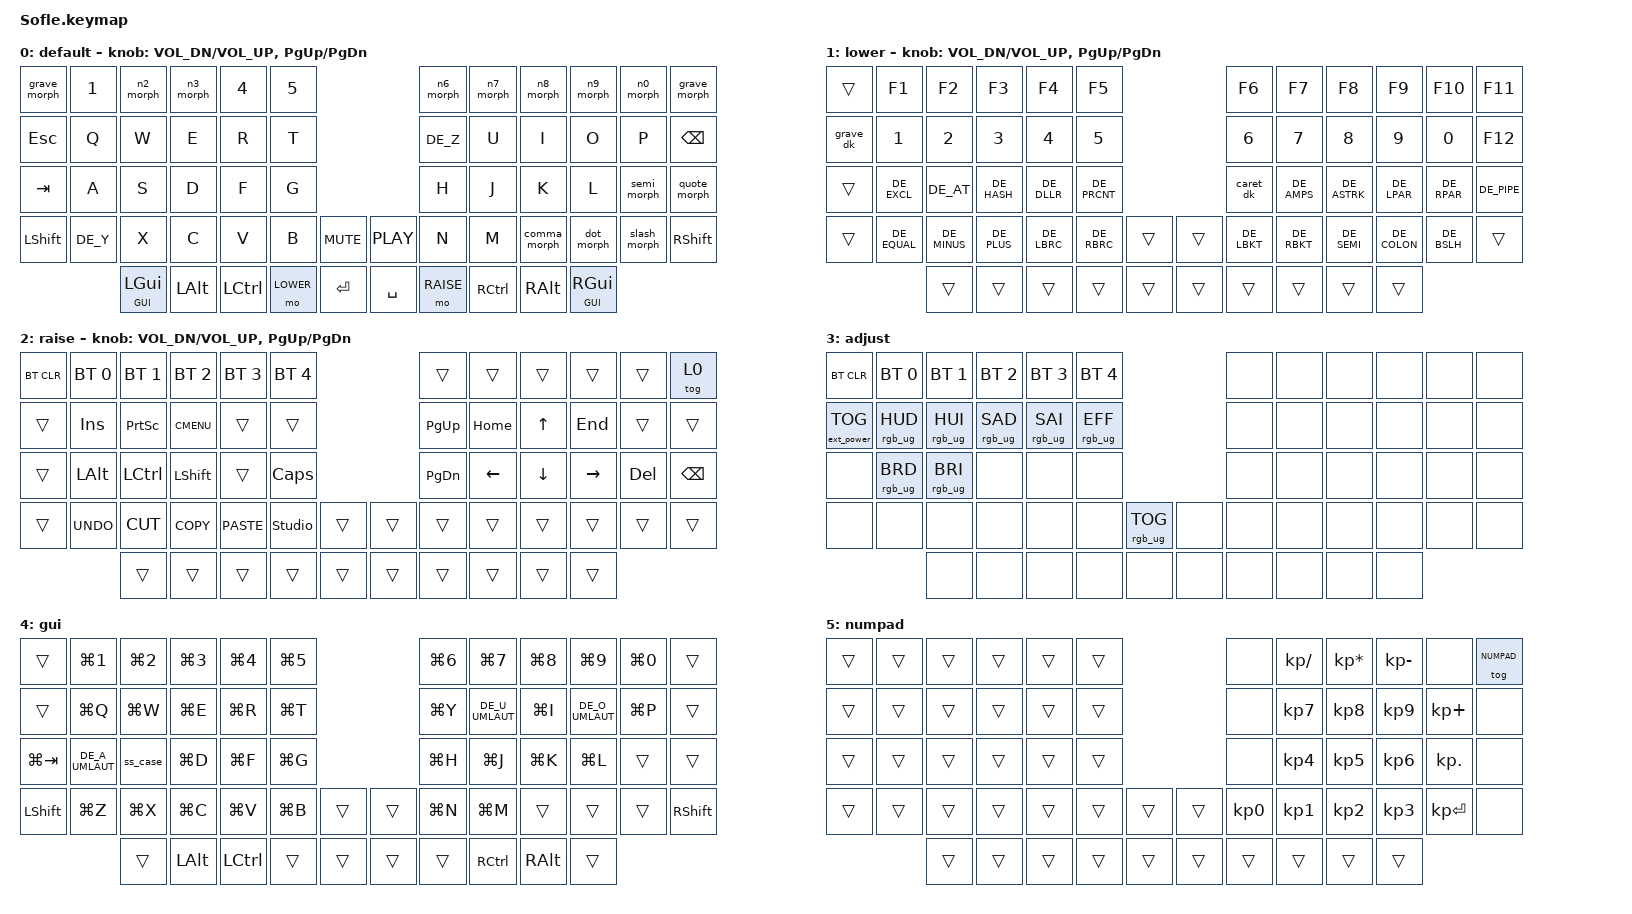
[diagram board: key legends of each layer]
/*
* Copyright (c) 2020 The ZMK Contributors
*
* SPDX-License-Identifier: MIT
*/
/*
 * German-OS / US-feel keymap for the Keebart Sofle Wireless.
 *
 * Your OS keyboard layout must be set to GERMAN. This firmware sends the
 * scancodes that a German OS turns back into the US-style characters printed
 * on your keycaps (y/z in the right spots, @ # { } [ ] etc.). The DE_*
 * keycodes come from the vendored keys_de.h header.
 *
 * Umlauts: HOLD a GUI (Win) thumb key, then a/o/u/s -> ä/ö/ü/ß (Shift -> capitals).
 *   While the GUI key is held the board is on the GUI layer, where every other
 *   key is its real Win+key shortcut (Win+L, Win+E, Win+D, Win+1..0, ...).
 *   A quick TAP of a GUI key alone = Start menu. Because the umlauts live on a
 *   layer, Windows never sees a lone Win press, so the Start menu no longer pops
 *   up while typing umlauts. (Trade-off: Win+A / Win+S / Win+Shift+S are gone.)
 *
 * Numpad: toggle layer. Raise + top-right key turns it ON (stays on); the same
 *   top-right key turns it OFF. While on, the right hand is a numpad; the left
 *   hand still types letters.
 *
 * Raise: Home/End next to the arrows. Adjust (hold Lower+Raise): BT/RGB.
 */

#include <behaviors.dtsi>
#include <dt-bindings/zmk/bt.h>
#include <dt-bindings/zmk/ext_power.h>
#include <dt-bindings/zmk/keys.h>
#include <dt-bindings/zmk/rgb.h>
#include "keys_de_swiss.h"

/*
*#include "keys_de.h"
 */

#define BASE 0
#define LOWER 1
#define RAISE 2
#define ADJUST 3
#define GUI 4
#define NUMPAD 5

/ {
    macros {
        // German dead-grave (Shift+=) then Space to commit a standalone `.
        // Generous delays mimic slow human typing so the OS reliably registers the
        // dead-key state before Space (needed for terminals to compose it).

        grave_dk: grave_dk {
            compatible = "zmk,behavior-macro";
            #binding-cells = <0>;
            bindings =
                <&macro_tap_time 40>,
                <&macro_wait_time 100>,
                <&macro_tap>,
                <&kp DE_GRAVE &kp SPACE>;
        };

        // German tilde (AltGr++) is NOT a dead key — it types ~ directly, so no Space.

        tilde_dk: tilde_dk {
            compatible = "zmk,behavior-macro";
            #binding-cells = <0>;
            bindings = <&macro_tap>, <&kp DE_TILDE>;
        };

        // German dead-circumflex (^ key) then Space to commit a standalone ^.

        caret_dk: caret_dk {
            compatible = "zmk,behavior-macro";
            #binding-cells = <0>;
            bindings =
                <&macro_tap_time 40>,
                <&macro_wait_time 100>,
                <&macro_tap>,
                <&kp DE_CARET &kp SPACE>;
        };
    };

    behaviors {
        // GUI thumb: tap alone = Win (Start menu); hold = GUI layer (umlauts +
        // real Win+key shortcuts). hold-preferred: pressing any key while held
        // immediately switches to the GUI layer.

        gui_lt: gui_lt {
            compatible = "zmk,behavior-hold-tap";
            #binding-cells = <2>;
            bindings = <&mo>, <&kp>;

            flavor = "hold-preferred";
            tapping-term-ms = <200>;
        };

        // ß on the GUI layer: s -> ß ; Shift+s -> ẞ (capital eszett).

        ss_case: ss_case {
            compatible = "zmk,behavior-mod-morph";
            #binding-cells = <0>;
            bindings = <&kp DE_SZ>, <&kp DE_CAPITAL_SZ>;

            mods = <(MOD_LSFT|MOD_RSFT)>;
        };

        // --- Number row: digit unshifted, US symbol shifted ---

        n2_morph: n2_morph {
            compatible = "zmk,behavior-mod-morph";
            #binding-cells = <0>;
            bindings = <&kp N2>, <&kp DE_AT>;

            mods = <(MOD_LSFT|MOD_RSFT)>;
        };

        n3_morph: n3_morph {
            compatible = "zmk,behavior-mod-morph";
            #binding-cells = <0>;
            bindings = <&kp N3>, <&kp DE_HASH>;

            mods = <(MOD_LSFT|MOD_RSFT)>;
        };

        n6_morph: n6_morph {
            compatible = "zmk,behavior-mod-morph";
            #binding-cells = <0>;
            bindings = <&kp N6>, <&caret_dk>;

            mods = <(MOD_LSFT|MOD_RSFT)>;
        };

        n7_morph: n7_morph {
            compatible = "zmk,behavior-mod-morph";
            #binding-cells = <0>;
            bindings = <&kp N7>, <&kp DE_AMPS>;

            mods = <(MOD_LSFT|MOD_RSFT)>;
        };

        n8_morph: n8_morph {
            compatible = "zmk,behavior-mod-morph";
            #binding-cells = <0>;
            bindings = <&kp N8>, <&kp DE_ASTRK>;

            mods = <(MOD_LSFT|MOD_RSFT)>;
        };

        n9_morph: n9_morph {
            compatible = "zmk,behavior-mod-morph";
            #binding-cells = <0>;
            bindings = <&kp N9>, <&kp DE_LPAR>;

            mods = <(MOD_LSFT|MOD_RSFT)>;
        };

        n0_morph: n0_morph {
            compatible = "zmk,behavior-mod-morph";
            #binding-cells = <0>;
            bindings = <&kp N0>, <&kp DE_RPAR>;

            mods = <(MOD_LSFT|MOD_RSFT)>;
        };

        // --- Right-side punctuation: US unshifted/shifted pairs ---

        semi_morph: semi_morph {
            compatible = "zmk,behavior-mod-morph";
            #binding-cells = <0>;
            bindings = <&kp DE_SEMI>, <&kp DE_COLON>;

            // ; / :

            mods = <(MOD_LSFT|MOD_RSFT)>;
        };

        quote_morph: quote_morph {
            compatible = "zmk,behavior-mod-morph";
            #binding-cells = <0>;
            bindings = <&kp DE_SQT>, <&kp DE_DQT>;

            // ' / "

            mods = <(MOD_LSFT|MOD_RSFT)>;
        };

        comma_morph: comma_morph {
            compatible = "zmk,behavior-mod-morph";
            #binding-cells = <0>;
            bindings = <&kp DE_COMMA>, <&kp DE_LT>;

            // , / <

            mods = <(MOD_LSFT|MOD_RSFT)>;
        };

        dot_morph: dot_morph {
            compatible = "zmk,behavior-mod-morph";
            #binding-cells = <0>;
            bindings = <&kp DE_DOT>, <&kp DE_GT>;

            // . / >

            mods = <(MOD_LSFT|MOD_RSFT)>;
        };

        slash_morph: slash_morph {
            compatible = "zmk,behavior-mod-morph";
            #binding-cells = <0>;
            bindings = <&kp DE_SLASH>, <&kp DE_QUESTION>;

            // / / ?

            mods = <(MOD_LSFT|MOD_RSFT)>;
        };

        // ` unshifted (dead-grave macro) / ~ shifted (dead-tilde macro)

        grave_morph: grave_morph {
            compatible = "zmk,behavior-mod-morph";
            #binding-cells = <0>;
            bindings = <&grave_dk>, <&tilde_dk>;

            mods = <(MOD_LSFT|MOD_RSFT)>;
        };
    };

    // Activate ADJUST layer by pressing raise and lower

    conditional_layers {
        compatible = "zmk,conditional-layers";

        adjust_layer {
            if-layers = <LOWER RAISE>;
            then-layer = <ADJUST>;
        };
    };

    keymap {
        compatible = "zmk,keymap";

        default_layer {
            display-name = "default";

            // ------------------------------------------------------------------------------------------------------------
            // |   `   |  1  |  2  |  3   |  4   |  5   |                   |  6   |  7    |  8    |  9   |   0   |   `   |
            // |  ESC  |  Q  |  W  |  E   |  R   |  T   |                   |  Y   |  U    |  I    |  O   |   P   | BKSPC |
            // |  TAB  |  A  |  S  |  D   |  F   |  G   |                   |  H   |  J    |  K    |  L   |   ;   |   '   |
            // | SHIFT |  Z  |  X  |  C   |  V   |  B   |  MUTE  |  | PLAY  |  N   |  M    |  ,    |  .   |   /   | SHIFT |
            //               | GUI | ALT  | CTRL | LOWER|  ENTER |  | SPACE | RAISE| CTRL  | ALT   | GUI  |
            // Thumb GUI keys: tap = Start menu, hold = umlauts / Win shortcuts.

            bindings = <
&grave_morph  &kp N1    &n2_morph         &n3_morph  &kp N4     &kp N5                               &n6_morph  &n7_morph  &n8_morph     &n9_morph         &n0_morph     &grave_morph
&kp ESC       &kp Q     &kp W             &kp E      &kp R      &kp T                                &kp DE_Z   &kp U      &kp I         &kp O             &kp P         &kp BSPC
&kp TAB       &kp A     &kp S             &kp D      &kp F      &kp G                                &kp H      &kp J      &kp K         &kp L             &semi_morph   &quote_morph
&kp LSHFT     &kp DE_Y  &kp X             &kp C      &kp V      &kp B      &kp C_MUTE    &kp C_PLAY  &kp N      &kp M      &comma_morph  &dot_morph        &slash_morph  &kp RSHFT
                        &gui_lt GUI LGUI  &kp LALT   &kp LCTRL  &mo LOWER  &kp RET       &kp SPACE   &mo RAISE  &kp RCTRL  &kp RALT      &gui_lt GUI RGUI
            >;

            sensor-bindings =
                <&inc_dec_kp C_VOL_DN C_VOL_UP>,
                <&inc_dec_kp PG_UP PG_DN>;
        };

        lower_layer {
            display-name = "lower";

            // ------------------------------------------------------------------------------------------------------------
            // |       |  F1 |  F2 |  F3  |  F4  |  F5  |                   |  F6  |  F7   |  F8   |  F9  |  F10  |  F11  |
            // |   `   |  1  |  2  |  3   |  4   |  5   |                   |  6   |  7    |  8    |  9   |   0   |  F12  |
            // |       |  !  |  @  |  #   |  $   |  %   |                   |  ^   |  &    |  *    |  (   |   )   |   |   |
            // |       |  =  |  -  |  +   |  {   |  }   |        |  |       |  [   |  ]    |  ;    |  :   |   \   |       |
            //               |     |      |      |      |        |  |       |      |       |       |      |

            bindings = <
&trans     &kp F1        &kp F2        &kp F3       &kp F4       &kp F5                          &kp F6       &kp F7       &kp F8        &kp F9        &kp F10      &kp F11
&grave_dk  &kp N1        &kp N2        &kp N3       &kp N4       &kp N5                          &kp N6       &kp N7       &kp N8        &kp N9        &kp N0       &kp F12
&trans     &kp DE_EXCL   &kp DE_AT     &kp DE_HASH  &kp DE_DLLR  &kp DE_PRCNT                    &caret_dk    &kp DE_AMPS  &kp DE_ASTRK  &kp DE_LPAR   &kp DE_RPAR  &kp DE_PIPE
&trans     &kp DE_EQUAL  &kp DE_MINUS  &kp DE_PLUS  &kp DE_LBRC  &kp DE_RBRC   &trans    &trans  &kp DE_LBKT  &kp DE_RBKT  &kp DE_SEMI   &kp DE_COLON  &kp DE_BSLH  &trans
                         &trans        &trans       &trans       &trans        &trans    &trans  &trans       &trans       &trans        &trans
            >;

            sensor-bindings =
                <&inc_dec_kp C_VOL_DN C_VOL_UP>,
                <&inc_dec_kp PG_UP PG_DN>;
        };

        raise_layer {
            display-name = "raise";

            // ------------------------------------------------------------------------------------------------------------
            // | BTCLR | BT1  | BT2  |  BT3  |  BT4  |  BT5 |                | PGUP | HOME |  UP   | END  |       | NUMPAD|
            // |       | INS  | PSCR | GUI   |       |      |                | PGDN |  <-  |  v    |  ->  |  DEL  | BKSPC |
            // |       | ALT  | CTRL | SHIFT |       | CAPS |                |      |      |       |      |       |       |
            // |       | UNDO | CUT  | COPY  | PASTE | STUD |      |  |      |      |      |       |      |       |       |
            //                |      |       |       |      |      |  |      |      |      |       |      |

            bindings = <
&bt BT_CLR  &bt BT_SEL 0  &bt BT_SEL 1  &bt BT_SEL 2  &bt BT_SEL 3  &bt BT_SEL 4                      &trans     &trans    &trans    &trans     &trans   &tog 0
&trans      &kp INS       &kp PSCRN     &kp K_CMENU   &trans        &trans                            &kp PG_UP  &kp HOME  &kp UP    &kp END    &trans   &trans
&trans      &kp LALT      &kp LCTRL     &kp LSHFT     &trans        &kp CLCK                          &kp PG_DN  &kp LEFT  &kp DOWN  &kp RIGHT  &kp DEL  &kp BSPC
&trans      &kp K_UNDO    &kp K_CUT     &kp K_COPY    &kp K_PASTE   &studio_unlock  &trans    &trans  &trans     &trans    &trans    &trans     &trans   &trans
                          &trans        &trans        &trans        &trans          &trans    &trans  &trans     &trans    &trans    &trans
            >;

            sensor-bindings =
                <&inc_dec_kp C_VOL_DN C_VOL_UP>,
                <&inc_dec_kp PG_UP PG_DN>;
        };

        adjust_layer {
            // ----------------------------------------------------------------------------------------------------------------------------
            // | BTCLR  |  BT1    |  BT2    |   BT3   |   BT4   |   BT5   |                  |      |      |       |      |       |       |
            // | EXTPWR | RGB_HUD | RGB_HUI | RGB_SAD | RGB_SAI | RGB_EFF |                  |      |      |       |      |       |       |
            // |        | RGB_BRD | RGB_BRI |         |         |         |                  |      |      |       |      |       |       |
            // |        |         |         |         |         |         | RGB_TOG | |      |      |      |       |      |       |       |
            //                    |         |         |         |         |         | |      |      |      |       |      |

            display-name = "adjust";
            bindings = <
&bt BT_CLR         &bt BT_SEL 0     &bt BT_SEL 1     &bt BT_SEL 2     &bt BT_SEL 3     &bt BT_SEL 4                               &none  &none  &none  &none  &none  &none
&ext_power EP_TOG  &rgb_ug RGB_HUD  &rgb_ug RGB_HUI  &rgb_ug RGB_SAD  &rgb_ug RGB_SAI  &rgb_ug RGB_EFF                            &none  &none  &none  &none  &none  &none
&none              &rgb_ug RGB_BRD  &rgb_ug RGB_BRI  &none            &none            &none                                      &none  &none  &none  &none  &none  &none
&none              &none            &none            &none            &none            &none            &rgb_ug RGB_TOG    &none  &none  &none  &none  &none  &none  &none
                                    &none            &none            &none            &none            &none              &none  &none  &none  &none  &none
            >;
        };

        gui_layer {
            display-name = "gui";

            // Active while a GUI thumb is held. a/o/u/s -> umlauts; everything else is
            // the real Win+key shortcut. Win+A / Win+S / Win+Shift+S are sacrificed.

            bindings = <
&trans       &kp LG(N1)       &kp LG(N2)  &kp LG(N3)  &kp LG(N4)  &kp LG(N5)                    &kp LG(N6)  &kp LG(N7)       &kp LG(N8)  &kp LG(N9)       &kp LG(N0)  &trans
&trans       &kp LG(Q)        &kp LG(W)   &kp LG(E)   &kp LG(R)   &kp LG(T)                     &kp LG(Y)   &kp DE_U_UMLAUT  &kp LG(I)   &kp DE_O_UMLAUT  &kp LG(P)   &trans
&kp LG(TAB)  &kp DE_A_UMLAUT  &ss_case    &kp LG(D)   &kp LG(F)   &kp LG(G)                     &kp LG(H)   &kp LG(J)        &kp LG(K)   &kp LG(L)        &trans      &trans
&kp LSHFT    &kp LG(Z)        &kp LG(X)   &kp LG(C)   &kp LG(V)   &kp LG(B)   &trans    &trans  &kp LG(N)   &kp LG(M)        &trans      &trans           &trans      &kp RSHFT
                              &trans      &kp LALT    &kp LCTRL   &trans      &trans    &trans  &trans      &kp RCTRL        &kp RALT    &trans
            >;
        };

        numpad_layer {
            display-name = "numpad";

            // Toggle layer (Raise + top-right turns on; top-right here turns off).
            // Right hand = numpad; left hand still types letters.

            bindings = <
&trans  &trans  &trans  &trans  &trans  &trans                    &none      &kp KP_SLASH  &kp KP_ASTERISK  &kp KP_MINUS  &none         &tog NUMPAD
&trans  &trans  &trans  &trans  &trans  &trans                    &none      &kp KP_N7     &kp KP_N8        &kp KP_N9     &kp KP_PLUS   &none
&trans  &trans  &trans  &trans  &trans  &trans                    &none      &kp KP_N4     &kp KP_N5        &kp KP_N6     &kp KP_DOT    &none
&trans  &trans  &trans  &trans  &trans  &trans  &trans    &trans  &kp KP_N0  &kp KP_N1     &kp KP_N2        &kp KP_N3     &kp KP_ENTER  &none
                &trans  &trans  &trans  &trans  &trans    &trans  &trans     &trans        &trans           &trans
            >;
        };
    };
};
